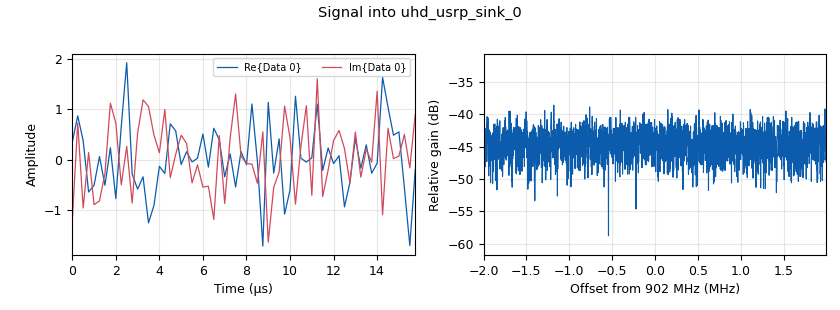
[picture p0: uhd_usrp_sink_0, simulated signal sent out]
<?xml version='1.0' encoding='utf-8'?>
<?grc format='1' created='3.7.7'?>
<flow_graph>
<block>
<key>options</key>
<param><key>id</key><value>uhd_b200_tx_rand_freq_hop</value></param>
<param><key>title</key><value>uhd_b200_tx_rand_freq_hop</value></param>
<param><key>author</key><value>Ryan Bosley (N4ONS)</value></param>
<param><key>description</key><value>Sets the center frequency based on input frequency list</value></param>
<param><key>generate_options</key><value>qt_gui</value></param>
<param><key>category</key><value>Custom</value></param>
<param><key>run_options</key><value>run</value></param>
</block>
<block>
<key>variable</key>
<param><key>id</key><value>freq_list</value></param>
<param><key>value</key><value>[902e6,928e6,910e6,906e6,912e6,922e6,923e6,907e6,918e6,909e6,911e6,916e6]</value></param>
</block>
<block>
<key>variable</key>
<param><key>id</key><value>samp_rate</value></param>
<param><key>value</key><value>4e6</value></param>
</block>
<block>
<key>parameter</key>
<param><key>id</key><value>tx_gain</value></param>
<param><key>value</key><value>0</value></param>
<param><key>type</key><value>eng_float</value></param>
<param><key>short_id</key><value>t</value></param>
</block>
<block>
<key>parameter</key>
<param><key>id</key><value>index</value></param>
<param><key>value</key><value>0</value></param>
<param><key>type</key><value>intx</value></param>
<param><key>short_id</key><value>f</value></param>
</block>
<block>
<key>variable_function_probe</key>
<param><key>id</key><value>freq_index</value></param>
<param><key>value</key><value>index</value></param>
<param><key>block_id</key><value>probe_index</value></param>
<param><key>function_name</key><value>level</value></param>
<param><key>poll_rate</key><value>20</value></param>
</block>
<block>
<key>uhd_usrp_sink</key>
<param><key>id</key><value>uhd_usrp_sink_0</value></param>
<param><key>type</key><value>fc32</value></param>
<param><key>dev_addr</key><value></value></param>
<param><key>sync</key><value></value></param>
<param><key>clock_rate</key><value>0.0</value></param>
<param><key>samp_rate</key><value>samp_rate</value></param>
<param><key>center_freq0</key><value>freq_list[freq_index]</value></param>
<param><key>gain0</key><value>tx_gain</value></param>
<param><key>norm_gain0</key><value>False</value></param>
<param><key>ant0</key><value>TX/RX</value></param>
<param><key>len_tag_name</key><value></value></param>
</block>
<block>
<key>blocks_probe_signal_x</key>
<param><key>id</key><value>probe_index</value></param>
<param><key>type</key><value>int</value></param>
</block>
<block>
<key>analog_sig_source_x</key>
<param><key>id</key><value>analog_sig_source_x_1</value></param>
<param><key>type</key><value>int</value></param>
<param><key>samp_rate</key><value>samp_rate</value></param>
<param><key>waveform</key><value>analog.GR_SAW_WAVE</value></param>
<param><key>freq</key><value>10</value></param>
<param><key>amp</key><value>len(freq_list)</value></param>
<param><key>offset</key><value>0</value></param>
</block>
<block>
<key>analog_noise_source_x</key>
<param><key>id</key><value>analog_noise_source_x_0</value></param>
<param><key>type</key><value>complex</value></param>
<param><key>noise_type</key><value>analog.GR_GAUSSIAN</value></param>
<param><key>amp</key><value>1</value></param>
<param><key>seed</key><value>0</value></param>
</block>
<block>
<key>variable_qtgui_label</key>
<param><key>id</key><value>variable_qtgui_label</value></param>
<param><key>label</key><value>Center_Frequency</value></param>
<param><key>type</key><value>real</value></param>
<param><key>value</key><value>freq_list[freq_index]</value></param>
</block>
<connection><source_block_id>analog_noise_source_x_0</source_block_id><sink_block_id>uhd_usrp_sink_0</sink_block_id><source_key>0</source_key><sink_key>0</sink_key></connection>
<connection><source_block_id>analog_sig_source_x_1</source_block_id><sink_block_id>probe_index</sink_block_id><source_key>0</source_key><sink_key>0</sink_key></connection>
</flow_graph>
